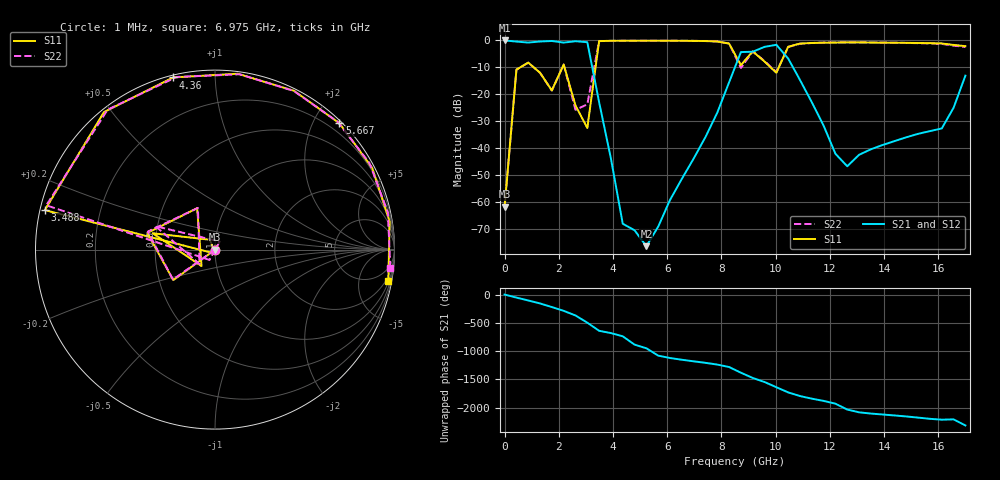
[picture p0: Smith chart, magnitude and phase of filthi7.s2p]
# GHz S RI R 50
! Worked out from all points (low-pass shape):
!   40 points, 1 MHz to 17 GHz, reference 50 ohm
!   highest |S21| = 0.00 dB at 1 MHz (marker M1); lowest = -76.3 dB at 5.231 GHz (marker M2)
!   |S21| within 3 dB of the highest: start of sweep to 3.098 GHz; 9.44 GHz to 10.15 GHz (705 MHz wide, 7.2 % of centre)
!   lowest |S11| = -61.7 dB at 1 MHz (marker M3), VSWR 1.00, Z = 50 - j0.0739 ohm
!   |S11| at or under -10 dB: start of sweep to 573.6 MHz; 1.078 GHz to 2.131 GHz (1.053 GHz wide, 65.6 % of centre); 2.212 GHz to 3.356 GHz (1.144 GHz wide, 41.1 % of centre)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
!   |S22| runs from -61.7 to -0.1 dB; largest |S21 - S12| = 4e-14
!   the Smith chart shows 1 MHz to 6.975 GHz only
!   S11 on the Smith chart (normalised r, x): 1 MHz: 1.00, -0.00; 3.488 GHz: 0.01, +0.11; 4.36 GHz: 0.01, +0.79; 5.667 GHz: 0.04, +2.39; 6.975 GHz: 1, -11
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0.001  0.00037 -0.000738  0.9996 -0.00225  0.9996 -0.00225  0.00037 -0.000738
0.4368718  -0.2324 -0.17  0.5572 -0.7732  0.5572 -0.7732  -0.2341 -0.167
1.308615  -0.0995 0.2306  -0.8849 -0.3628  -0.8849 -0.3628  -0.095 0.2323
2.180359  -0.3467 0.091  0.2828 0.8681  0.2828 0.8681  -0.3318 0.1307
2.616231  -0.0295 0.0549  0.9521 -0.1675  0.9521 -0.1675  0.0256 0.0449
3.052103  0.00484 -0.0232  -0.682 -0.6295  -0.682 -0.6295  -0.0309 -0.0575
3.487974  -0.9481 0.2202  0.0132 0.0701  0.0132 0.0701  -0.9399 0.2468
4.359718  -0.233 0.9592  0.000379 -0.000123  0.000379 -0.000123  -0.2135 0.9618
5.231462  0.4394 0.8852  -9.92e-05 0.000117  -9.92e-05 0.000117  0.4394 0.8837
5.667333  0.6933 0.7039  0.000353 2.97e-06  0.000353 2.97e-06  0.683 0.7125
6.974949  0.9658 -0.1751  -0.00108 -0.00636  -0.00108 -0.00636  0.9768 -0.1017
8.282564  -0.0352 -0.8747  -0.1565 0.059  -0.1565 0.059  0.1062 -0.8713
8.718436  -0.1124 -0.33  0.317 0.5199  0.317 0.5199  -0.031 -0.3066
9.154308  -0.4124 -0.4713  0.5125 -0.3438  0.5125 -0.3438  -0.2517 -0.5738
9.590179  -0.3957 0.0926  -0.2067 -0.7317  -0.2067 -0.7317  -0.4126 -0.0439
10.02605  -0.1303 -0.2146  -0.7942 0.2437  -0.7942 0.2437  -0.1306 -0.2241
10.46192  -0.7085 0.2876  0.1513 0.437  0.1513 0.437  -0.7058 0.2689
11.33367  0.5776 0.6875  0.0549 -0.0458  0.0549 -0.0458  0.606 0.6601
12.64128  0.7152 -0.5747  -0.00284 0.00367  -0.00284 0.00367  0.7515 -0.534
14.38477  -0.4983 -0.7574  0.0125 0.00545  0.0125 0.00545  -0.3298 -0.845
16.12826  -0.7815 0.4023  0.0147 -0.0181  0.0147 -0.0181  -0.8463 0.1695
17  -0.225 0.7511  -0.1985 -0.1009  -0.1985 -0.1009  -0.4182 0.6319
